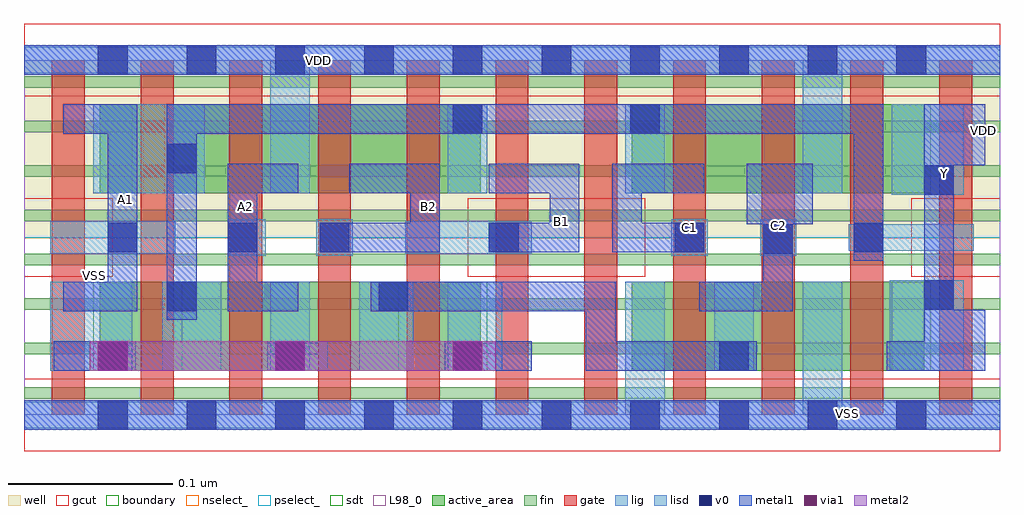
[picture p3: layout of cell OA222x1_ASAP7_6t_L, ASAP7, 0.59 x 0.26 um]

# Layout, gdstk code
import gdstk
lib = gdstk.Library(unit=1e-6, precision=2.5e-10)
def R(c, l, rs):  # rectangles x0, y0, x1, y1
    for r in rs: c.add(gdstk.rectangle(r[:2], r[2:], *l))
def A(c, l, x, y, w, h, nx, ny, dx, dy):  # array of equal rectangles
    R(c, l, [(x+i*dx, y+j*dy, x+i*dx+w, y+j*dy+h) for i in range(nx) for j in range(ny)])
def P(c, l, *ps):  # polygons
    for p in ps: c.add(gdstk.Polygon(p, *l))
well = (1, 0)
fin = (2, 0)
gate = (7, 0)
gcut = (10, 0)
active_area = (11, 0)
nselect_ = (12, 0)
pselect_ = (13, 0)
lig = (16, 0)
lisd = (17, 0)
v0 = (18, 0)
metal1 = (19, 0)
metal2 = (20, 0)
via1 = (21, 0)
sdt = (88, 0)
L98_0 = (98, 0)
boundary = (100, 0)

oa222x1_asap7_6t_l = lib.new_cell('OA222x1_ASAP7_6t_L')
R(oa222x1_asap7_6t_l, well, [(0,0.108,0.594,0.216)])
A(oa222x1_asap7_6t_l, fin, 0, 0.01, 0.594, 0.007, 1, 8, 0, 0.027)
A(oa222x1_asap7_6t_l, gate, 0.017, 0, 0.02, 0.216, 11, 1, 0.054, 0)
R(oa222x1_asap7_6t_l, gcut, [(0,-0.022,0.594,0.022), (0,0.084,0.054,0.132), (0.27,0.084,0.378,0.132), (0.54,0.084,0.594,0.132), (0,0.194,0.594,0.238)])
R(oa222x1_asap7_6t_l, active_area, [(0.046,0.027,0.278,0.081), (0.37,0.027,0.548,0.081), (0.046,0.135,0.278,0.189), (0.37,0.135,0.548,0.189)])
R(oa222x1_asap7_6t_l, nselect_, [(0,0,0.594,0.108)])
R(oa222x1_asap7_6t_l, pselect_, [(0,0.108,0.594,0.216)])
R(oa222x1_asap7_6t_l, lig, [(0,-0.008,0.594,0.008), (0.124,0.097,0.147,0.119), (0.178,0.097,0.2,0.119), (0.394,0.097,0.416,0.119), (0.448,0.097,0.47,0.119), (0.016,0.098,0.092,0.118), (0.232,0.098,0.309,0.118), (0.502,0.1,0.578,0.116), (0,0.208,0.594,0.224)])
R(oa222x1_asap7_6t_l, lisd, [(0.366,0,0.39,0.081), (0.474,0,0.498,0.081), (0.016,0.027,0.066,0.081), (0.084,0.027,0.12,0.081), (0.15,0.027,0.174,0.081), (0.204,0.027,0.237,0.081), (0.258,0.027,0.291,0.081), (0.42,0.027,0.444,0.081), (0.527,0.027,0.572,0.082), (0.528,0.134,0.572,0.189), (0.042,0.135,0.11,0.189), (0.15,0.135,0.174,0.216), (0.258,0.135,0.282,0.189), (0.366,0.135,0.39,0.189), (0.474,0.135,0.498,0.216)])
A(oa222x1_asap7_6t_l, v0, 0.045, -0.009, 0.018, 0.018, 10, 2, 0.054, 0.216)
A(oa222x1_asap7_6t_l, v0, 0.045, 0.027, 0.018, 0.018, 3, 1, 0.108, 0)
R(oa222x1_asap7_6t_l, v0, [(0.423,0.027,0.441,0.045), (0.087,0.063,0.105,0.081), (0.216,0.063,0.234,0.081), (0.548,0.064,0.566,0.082), (0.45,0.098,0.468,0.116), (0.051,0.099,0.069,0.117), (0.124,0.099,0.142,0.117), (0.18,0.099,0.198,0.117), (0.283,0.099,0.301,0.117), (0.396,0.099,0.414,0.117), (0.505,0.099,0.523,0.117), (0.548,0.134,0.566,0.152), (0.087,0.147,0.105,0.165), (0.261,0.171,0.279,0.189), (0.369,0.171,0.387,0.189)])
R(oa222x1_asap7_6t_l, metal1, [(0,-0.009,0.594,0.009), (0.018,0.027,0.068,0.045), (0.148,0.027,0.185,0.045), (0.256,0.027,0.309,0.045), (0,0.207,0.594,0.225)])
P(oa222x1_asap7_6t_l, metal1, [(0.585,0.064),(0.566,0.064),(0.566,0.152),(0.585,0.152),(0.585,0.189),(0.548,0.189),(0.548,0.045),(0.525,0.045),(0.525,0.027),(0.585,0.027)],
  [(0.523,0.189),(0.087,0.189),(0.087,0.058),(0.105,0.058),(0.105,0.171),(0.505,0.171),(0.505,0.094),(0.523,0.094)],
  [(0.48,0.153),(0.44,0.153),(0.44,0.116),(0.45,0.116),(0.45,0.081),(0.411,0.081),(0.411,0.063),(0.468,0.063),(0.468,0.116),(0.48,0.116)],
  [(0.446,0.045),(0.36,0.045),(0.36,0.081),(0.211,0.081),(0.211,0.063),(0.342,0.063),(0.342,0.027),(0.446,0.027)],
  [(0.414,0.117),(0.376,0.117),(0.376,0.135),(0.414,0.135),(0.414,0.153),(0.358,0.153),(0.358,0.099),(0.414,0.099)],
  [(0.338,0.153),(0.283,0.153),(0.283,0.135),(0.32,0.135),(0.32,0.117),(0.283,0.117),(0.283,0.099),(0.338,0.099)],
  [(0.253,0.153),(0.198,0.153),(0.198,0.135),(0.235,0.135),(0.235,0.117),(0.18,0.117),(0.18,0.099),(0.253,0.099)],
  [(0.167,0.081),(0.142,0.081),(0.142,0.135),(0.167,0.135),(0.167,0.153),(0.124,0.153),(0.124,0.063),(0.167,0.063)],
  [(0.069,0.189),(0.024,0.189),(0.024,0.171),(0.051,0.171),(0.051,0.081),(0.024,0.081),(0.024,0.063),(0.069,0.063)])
R(oa222x1_asap7_6t_l, metal2, [(0.04,0.027,0.287,0.045)])
A(oa222x1_asap7_6t_l, via1, 0.045, 0.027, 0.018, 0.018, 3, 1, 0.108, 0)
A(oa222x1_asap7_6t_l, sdt, 0.042, 0.027, 0.024, 0.054, 5, 1, 0.054, 0)
A(oa222x1_asap7_6t_l, sdt, 0.366, 0.027, 0.024, 0.054, 4, 1, 0.054, 0)
A(oa222x1_asap7_6t_l, sdt, 0.042, 0.135, 0.024, 0.054, 5, 1, 0.108, 0)
R(oa222x1_asap7_6t_l, sdt, [(0.528,0.135,0.552,0.189)])
R(oa222x1_asap7_6t_l, L98_0, [(0,0,0.594,0.216)])
R(oa222x1_asap7_6t_l, boundary, [(0,0,0.594,0.216)])
oa222x1_asap7_6t_l.add(gdstk.Label('Y', (0.56,0.147), layer=19, texttype=251))
oa222x1_asap7_6t_l.add(gdstk.Label('C2', (0.459,0.115), layer=19, texttype=251))
oa222x1_asap7_6t_l.add(gdstk.Label('C1', (0.405,0.114), layer=19, texttype=251))
oa222x1_asap7_6t_l.add(gdstk.Label('A1', (0.062,0.131), layer=19, texttype=251))
oa222x1_asap7_6t_l.add(gdstk.Label('B2', (0.246,0.127), layer=19, texttype=251))
oa222x1_asap7_6t_l.add(gdstk.Label('B1', (0.327,0.118), layer=19, texttype=251))
oa222x1_asap7_6t_l.add(gdstk.Label('VSS', (0.501,0.001), layer=19, texttype=251))
oa222x1_asap7_6t_l.add(gdstk.Label('A2', (0.135,0.127), layer=19, texttype=251))
oa222x1_asap7_6t_l.add(gdstk.Label('VDD', (0.179,0.216), layer=19, texttype=251))
oa222x1_asap7_6t_l.add(gdstk.Label('VSS', (0.043,0.085), layer=3, texttype=251))
oa222x1_asap7_6t_l.add(gdstk.Label('VDD', (0.584,0.173), layer=1, texttype=251))

lib.write_gds('OA222x1_ASAP7_6t_L.gds')
